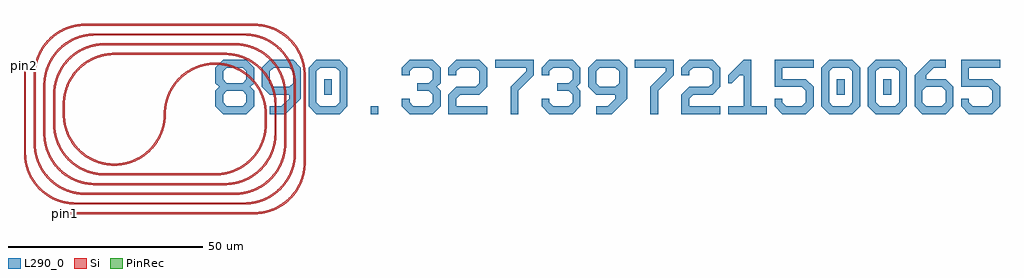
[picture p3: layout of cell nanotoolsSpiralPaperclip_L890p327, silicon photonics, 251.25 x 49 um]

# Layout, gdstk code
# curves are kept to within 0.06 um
import gdstk
lib = gdstk.Library(unit=1e-6, precision=1e-09)
def R(c, l, rs):  # rectangles x0, y0, x1, y1
    for r in rs: c.add(gdstk.rectangle(r[:2], r[2:], *l))
def P(c, l, *ps):  # polygons
    for p in ps: c.add(gdstk.Polygon(p, *l))
Si = (1, 0)
PinRec = (1, 10)
L290_0 = (290, 0)

nanotoolsspiralpaperclip = lib.new_cell('nanotoolsSpiralPaperclip_L890p327')
R(nanotoolsspiralpaperclip, Si, [(-38.5,-25.75,10,-25.25), (-36,-23.25,7.5,-22.75), (-33.5,-20.75,5,-20.25), (-31,-18.25,2.5,-17.75), (-28.5,-15.75,0,-15.25), (22.75,-12.5,23.25,10), (-49.25,-10,-48.75,12.5), (20.25,-10,20.75,7.5), (-46.75,-7.5,-46.25,10), (17.75,-7.5,18.25,5), (-44.25,-5,-43.75,7.5), (15.25,-5,15.75,2.5), (-41.75,-2.5,-41.25,5), (12.75,-2.5,13.25,0), (-39.25,0,-38.75,2.5), (-26,15.25,2.5,15.75), (-28.5,17.75,5,18.25), (-31,20.25,7.5,20.75), (-33.5,22.75,10,23.25)])
P(nanotoolsspiralpaperclip, Si, [(-13.25,0),(-13.187,1.289),(-12.999,2.565),(-12.688,3.817),(-12.257,5.033),(-11.709,6.201),(-11.05,7.311),(-10.287,8.351),(-9.426,9.312),(-8.476,10.185),(-7.445,10.961),(-6.344,11.633),(-5.182,12.195),(-3.972,12.641),(-2.723,12.967),(-1.449,13.171),(0,13.25),(0,12.75),(-1.24,12.69),(-2.62,12.478),(-3.969,12.116),(-5.271,11.61),(-6.24,11.119),(-7.292,10.459),(-8.961,9.07),(-10.369,7.419),(-11.478,5.552),(-12.067,4.117),(-12.445,2.772),(-12.674,1.394),(-12.75,0)],
  [(-26,-13.25),(-26,-12.75),(-24.76,-12.69),(-23.38,-12.478),(-22.031,-12.116),(-20.729,-11.61),(-19.76,-11.119),(-18.708,-10.459),(-17.039,-9.07),(-15.631,-7.419),(-14.522,-5.552),(-13.933,-4.117),(-13.555,-2.772),(-13.326,-1.394),(-13.25,0),(-12.75,0),(-12.813,-1.289),(-13.001,-2.565),(-13.312,-3.817),(-13.743,-5.033),(-14.291,-6.201),(-14.95,-7.311),(-15.713,-8.351),(-16.574,-9.312),(-17.524,-10.185),(-18.555,-10.961),(-19.656,-11.633),(-20.818,-12.195),(-22.028,-12.641),(-23.277,-12.967),(-24.551,-13.171)],
  [(0,-15.75),(0,-15.25),(1.24,-15.19),(2.62,-14.978),(3.969,-14.616),(5.271,-14.11),(6.24,-13.619),(7.292,-12.959),(8.961,-11.57),(10.369,-9.919),(11.478,-8.052),(12.067,-6.617),(12.445,-5.272),(12.674,-3.894),(12.75,-2.5),(13.25,-2.5),(13.187,-3.789),(12.999,-5.065),(12.688,-6.317),(12.257,-7.533),(11.709,-8.701),(11.05,-9.811),(10.287,-10.851),(9.426,-11.812),(8.476,-12.685),(7.445,-13.461),(6.344,-14.133),(5.182,-14.695),(3.972,-15.141),(2.723,-15.467),(1.449,-15.671)],
  [(2.5,-18.25),(2.5,-17.75),(3.74,-17.69),(5.12,-17.478),(6.469,-17.116),(7.771,-16.61),(8.74,-16.119),(9.792,-15.459),(11.461,-14.07),(12.869,-12.419),(13.978,-10.552),(14.567,-9.117),(14.945,-7.772),(15.174,-6.394),(15.25,-5),(15.75,-5),(15.687,-6.289),(15.499,-7.565),(15.188,-8.817),(14.757,-10.033),(14.209,-11.201),(13.55,-12.311),(12.787,-13.351),(11.926,-14.312),(10.976,-15.185),(9.945,-15.961),(8.844,-16.633),(7.682,-17.195),(6.472,-17.641),(5.223,-17.967),(3.949,-18.171)],
  [(5,-20.75),(5,-20.25),(6.24,-20.19),(7.62,-19.978),(8.969,-19.616),(10.271,-19.11),(11.24,-18.619),(12.292,-17.959),(13.961,-16.57),(15.369,-14.919),(16.478,-13.052),(17.067,-11.617),(17.445,-10.272),(17.674,-8.894),(17.75,-7.5),(18.25,-7.5),(18.187,-8.789),(17.999,-10.065),(17.688,-11.317),(17.257,-12.533),(16.709,-13.701),(16.05,-14.811),(15.287,-15.851),(14.426,-16.812),(13.476,-17.685),(12.445,-18.461),(11.344,-19.133),(10.182,-19.695),(8.972,-20.141),(7.723,-20.467),(6.449,-20.671)],
  [(7.5,-23.25),(7.5,-22.75),(8.74,-22.69),(10.12,-22.478),(11.469,-22.116),(12.771,-21.61),(13.74,-21.119),(14.792,-20.459),(16.461,-19.07),(17.869,-17.419),(18.978,-15.552),(19.567,-14.117),(19.945,-12.772),(20.174,-11.394),(20.25,-10),(20.75,-10),(20.687,-11.289),(20.499,-12.565),(20.188,-13.817),(19.757,-15.033),(19.209,-16.201),(18.55,-17.311),(17.787,-18.351),(16.926,-19.312),(15.976,-20.185),(14.945,-20.961),(13.844,-21.633),(12.682,-22.195),(11.472,-22.641),(10.223,-22.967),(8.949,-23.171)],
  [(10,-25.75),(10,-25.25),(11.24,-25.19),(12.62,-24.978),(13.969,-24.616),(15.271,-24.11),(16.24,-23.619),(17.292,-22.959),(18.961,-21.57),(20.369,-19.919),(21.478,-18.052),(22.067,-16.617),(22.445,-15.272),(22.674,-13.894),(22.75,-12.5),(23.25,-12.5),(23.187,-13.789),(22.999,-15.065),(22.688,-16.317),(22.257,-17.533),(21.709,-18.701),(21.05,-19.811),(20.287,-20.851),(19.426,-21.812),(18.476,-22.685),(17.445,-23.461),(16.344,-24.133),(15.182,-24.695),(13.972,-25.141),(12.723,-25.467),(11.449,-25.671)],
  [(12.75,0),(12.69,1.24),(12.509,2.468),(12.209,3.673),(11.794,4.843),(11.339,5.83),(10.718,6.905),(9.996,7.915),(9.179,8.849),(8.392,9.599),(7.419,10.369),(5.552,11.478),(4.117,12.067),(2.772,12.445),(1.394,12.674),(0,12.75),(0,13.25),(1.449,13.171),(2.723,12.967),(3.972,12.641),(5.182,12.195),(6.344,11.633),(7.445,10.961),(8.476,10.185),(9.539,9.196),(10.388,8.225),(11.225,7.04),(11.928,5.77),(12.487,4.431),(12.967,2.723),(13.225,0.806),(13.25,0)],
  [(15.25,2.5),(15.19,3.74),(15.009,4.968),(14.709,6.173),(14.294,7.343),(13.839,8.33),(13.218,9.405),(12.496,10.415),(11.679,11.349),(10.892,12.099),(9.919,12.869),(8.052,13.978),(6.617,14.567),(5.272,14.945),(3.894,15.174),(2.5,15.25),(2.5,15.75),(3.949,15.671),(5.223,15.467),(6.472,15.141),(7.682,14.695),(8.844,14.133),(9.945,13.461),(10.976,12.685),(12.039,11.696),(12.888,10.725),(13.725,9.54),(14.428,8.27),(14.987,6.931),(15.467,5.223),(15.725,3.306),(15.75,2.5)],
  [(17.75,5),(17.69,6.24),(17.509,7.468),(17.209,8.673),(16.794,9.843),(16.339,10.83),(15.718,11.905),(14.996,12.915),(14.179,13.849),(13.392,14.599),(12.419,15.369),(10.552,16.478),(9.117,17.067),(7.772,17.445),(6.394,17.674),(5,17.75),(5,18.25),(6.449,18.171),(7.723,17.967),(8.972,17.641),(10.182,17.195),(11.344,16.633),(12.445,15.961),(13.476,15.185),(14.539,14.196),(15.388,13.225),(16.225,12.04),(16.928,10.77),(17.487,9.431),(17.967,7.723),(18.225,5.806),(18.25,5)],
  [(20.25,7.5),(20.19,8.74),(20.009,9.968),(19.709,11.173),(19.294,12.343),(18.839,13.33),(18.218,14.405),(17.496,15.415),(16.679,16.349),(15.892,17.099),(14.919,17.869),(13.052,18.978),(11.617,19.567),(10.272,19.945),(8.894,20.174),(7.5,20.25),(7.5,20.75),(8.949,20.671),(10.223,20.467),(11.472,20.141),(12.682,19.695),(13.844,19.133),(14.945,18.461),(15.976,17.685),(17.039,16.696),(17.888,15.725),(18.725,14.54),(19.428,13.27),(19.987,11.931),(20.467,10.223),(20.725,8.306),(20.75,7.5)],
  [(22.75,10),(22.69,11.24),(22.509,12.468),(22.209,13.673),(21.794,14.843),(21.339,15.83),(20.718,16.905),(19.996,17.915),(19.179,18.849),(18.392,19.599),(17.419,20.369),(15.552,21.478),(14.117,22.067),(12.772,22.445),(11.394,22.674),(10,22.75),(10,23.25),(11.449,23.171),(12.723,22.967),(13.972,22.641),(15.182,22.195),(16.344,21.633),(17.445,20.961),(18.476,20.185),(19.539,19.196),(20.388,18.225),(21.225,17.04),(21.928,15.77),(22.487,14.431),(22.967,12.723),(23.225,10.806),(23.25,10)],
  [(-39.25,2.5),(-39.187,3.789),(-38.999,5.065),(-38.688,6.317),(-38.257,7.533),(-37.709,8.701),(-37.05,9.811),(-36.287,10.851),(-35.426,11.812),(-34.476,12.685),(-33.445,13.461),(-32.344,14.133),(-31.182,14.695),(-29.972,15.141),(-28.723,15.467),(-27.449,15.671),(-26,15.75),(-26,15.25),(-27.24,15.19),(-28.62,14.978),(-29.969,14.616),(-31.271,14.11),(-32.24,13.619),(-33.292,12.959),(-34.961,11.57),(-36.369,9.919),(-37.478,8.052),(-38.067,6.617),(-38.445,5.272),(-38.674,3.894),(-38.75,2.5)],
  [(-41.75,5),(-41.687,6.289),(-41.499,7.565),(-41.188,8.817),(-40.757,10.033),(-40.209,11.201),(-39.55,12.311),(-38.787,13.351),(-37.926,14.312),(-36.976,15.185),(-35.945,15.961),(-34.844,16.633),(-33.682,17.195),(-32.472,17.641),(-31.223,17.967),(-29.949,18.171),(-28.5,18.25),(-28.5,17.75),(-29.74,17.69),(-31.12,17.478),(-32.469,17.116),(-33.771,16.61),(-34.74,16.119),(-35.792,15.459),(-37.461,14.07),(-38.869,12.419),(-39.978,10.552),(-40.567,9.117),(-40.945,7.772),(-41.174,6.394),(-41.25,5)],
  [(-44.25,7.5),(-44.187,8.789),(-43.999,10.065),(-43.688,11.317),(-43.257,12.533),(-42.709,13.701),(-42.05,14.811),(-41.287,15.851),(-40.426,16.812),(-39.476,17.685),(-38.445,18.461),(-37.344,19.133),(-36.182,19.695),(-34.972,20.141),(-33.723,20.467),(-32.449,20.671),(-31,20.75),(-31,20.25),(-32.24,20.19),(-33.62,19.978),(-34.969,19.616),(-36.271,19.11),(-37.24,18.619),(-38.292,17.959),(-39.961,16.57),(-41.369,14.919),(-42.478,13.052),(-43.067,11.617),(-43.445,10.272),(-43.674,8.894),(-43.75,7.5)],
  [(-46.75,10),(-46.687,11.289),(-46.499,12.565),(-46.188,13.817),(-45.757,15.033),(-45.209,16.201),(-44.55,17.311),(-43.787,18.351),(-42.926,19.312),(-41.976,20.185),(-40.945,20.961),(-39.844,21.633),(-38.682,22.195),(-37.472,22.641),(-36.223,22.967),(-34.949,23.171),(-33.5,23.25),(-33.5,22.75),(-34.74,22.69),(-36.12,22.478),(-37.469,22.116),(-38.771,21.61),(-39.74,21.119),(-40.792,20.459),(-42.461,19.07),(-43.869,17.419),(-44.978,15.552),(-45.567,14.117),(-45.945,12.772),(-46.174,11.394),(-46.25,10)],
  [(-26,-13.25),(-27.289,-13.187),(-28.565,-12.999),(-29.817,-12.688),(-31.033,-12.257),(-32.201,-11.709),(-33.311,-11.05),(-34.351,-10.287),(-35.312,-9.426),(-36.185,-8.476),(-36.961,-7.445),(-37.633,-6.344),(-38.195,-5.182),(-38.641,-3.972),(-38.967,-2.723),(-39.171,-1.449),(-39.25,0),(-38.75,0),(-38.69,-1.24),(-38.478,-2.62),(-38.116,-3.969),(-37.61,-5.271),(-37.119,-6.24),(-36.459,-7.292),(-35.07,-8.961),(-33.419,-10.369),(-31.552,-11.478),(-30.117,-12.067),(-28.772,-12.445),(-27.394,-12.674),(-26,-12.75)],
  [(-28.5,-15.75),(-29.789,-15.687),(-31.065,-15.499),(-32.317,-15.188),(-33.533,-14.757),(-34.701,-14.209),(-35.811,-13.55),(-36.851,-12.787),(-37.812,-11.926),(-38.685,-10.976),(-39.461,-9.945),(-40.133,-8.844),(-40.695,-7.682),(-41.141,-6.472),(-41.467,-5.223),(-41.671,-3.949),(-41.75,-2.5),(-41.25,-2.5),(-41.19,-3.74),(-40.978,-5.12),(-40.616,-6.469),(-40.11,-7.771),(-39.619,-8.74),(-38.959,-9.792),(-37.57,-11.461),(-35.919,-12.869),(-34.052,-13.978),(-32.617,-14.567),(-31.272,-14.945),(-29.894,-15.174),(-28.5,-15.25)],
  [(-31,-18.25),(-32.289,-18.187),(-33.565,-17.999),(-34.817,-17.688),(-36.033,-17.257),(-37.201,-16.709),(-38.311,-16.05),(-39.351,-15.287),(-40.312,-14.426),(-41.185,-13.476),(-41.961,-12.445),(-42.633,-11.344),(-43.195,-10.182),(-43.641,-8.972),(-43.967,-7.723),(-44.171,-6.449),(-44.25,-5),(-43.75,-5),(-43.69,-6.24),(-43.478,-7.62),(-43.116,-8.969),(-42.61,-10.271),(-42.119,-11.24),(-41.459,-12.292),(-40.07,-13.961),(-38.419,-15.369),(-36.552,-16.478),(-35.117,-17.067),(-33.772,-17.445),(-32.394,-17.674),(-31,-17.75)],
  [(-33.5,-20.75),(-34.789,-20.687),(-36.065,-20.499),(-37.317,-20.188),(-38.533,-19.757),(-39.701,-19.209),(-40.811,-18.55),(-41.851,-17.787),(-42.812,-16.926),(-43.685,-15.976),(-44.461,-14.945),(-45.133,-13.844),(-45.695,-12.682),(-46.141,-11.472),(-46.467,-10.223),(-46.671,-8.949),(-46.75,-7.5),(-46.25,-7.5),(-46.19,-8.74),(-45.978,-10.12),(-45.616,-11.469),(-45.11,-12.771),(-44.619,-13.74),(-43.959,-14.792),(-42.57,-16.461),(-40.919,-17.869),(-39.052,-18.978),(-37.617,-19.567),(-36.272,-19.945),(-34.894,-20.174),(-33.5,-20.25)],
  [(-36,-23.25),(-37.289,-23.187),(-38.565,-22.999),(-39.817,-22.688),(-41.033,-22.257),(-42.201,-21.709),(-43.311,-21.05),(-44.351,-20.287),(-45.312,-19.426),(-46.185,-18.476),(-46.961,-17.445),(-47.633,-16.344),(-48.195,-15.182),(-48.641,-13.972),(-48.967,-12.723),(-49.171,-11.449),(-49.25,-10),(-48.75,-10),(-48.69,-11.24),(-48.478,-12.62),(-48.116,-13.969),(-47.61,-15.271),(-47.119,-16.24),(-46.459,-17.292),(-45.07,-18.961),(-43.419,-20.369),(-41.552,-21.478),(-40.117,-22.067),(-38.772,-22.445),(-37.394,-22.674),(-36,-22.75)])
R(nanotoolsspiralpaperclip, L290_0, [(40,0,42,2), (28,5,30,9), (160,5,162,9), (172,5,174,9)])
P(nanotoolsspiralpaperclip, L290_0, [(2,0),(0,2),(0,6),(1,7),(0,8),(0,12),(2,14),(8,14),(10,12),(3,12),(2,11),(2,9),(3,8),(7,8),(8,9),(8,11),(7,12),(10,12),(10,8),(9,7),(10,6),(3,6),(2,5),(2,3),(3,2),(7,2),(8,3),(8,5),(7,6),(10,6),(10,2),(8,0)],
  [(14,0),(14,2),(17,2),(19,4),(19,5),(14,5),(12,7),(19,7),(20,8),(20,11),(19,12),(15,12),(14,11),(14,8),(15,7),(12,7),(12,12),(14,14),(20,14),(22,12),(22,4),(18,0)],
  [(26,0),(24,2),(24,12),(26,14),(32,14),(34,12),(27,12),(26,11),(26,3),(27,2),(31,2),(32,3),(32,11),(31,12),(34,12),(34,2),(32,0)],
  [(50,0),(48,2),(48,4),(50,4),(50,3),(51,2),(55,2),(56,3),(56,5),(55,6),(52,6),(52,8),(55,8),(56,9),(56,11),(55,12),(51,12),(50,11),(50,10),(48,10),(48,12),(50,14),(56,14),(58,12),(58,8),(57,7),(58,6),(58,2),(56,0)],
  [(60,0),(60,5),(62,7),(67,7),(68,8),(68,11),(67,12),(63,12),(62,11),(62,10),(60,10),(60,12),(62,14),(68,14),(70,12),(70,7),(68,5),(63,5),(62,4),(62,2),(70,2),(70,0)],
  [(76,0),(76,7),(80,11),(80,12),(72,12),(72,14),(82,14),(82,10),(78,6),(78,0)],
  [(86,0),(84,2),(84,4),(86,4),(86,3),(87,2),(91,2),(92,3),(92,5),(91,6),(88,6),(88,8),(91,8),(92,9),(92,11),(91,12),(87,12),(86,11),(86,10),(84,10),(84,12),(86,14),(92,14),(94,12),(94,8),(93,7),(94,6),(94,2),(92,0)],
  [(98,0),(98,2),(101,2),(103,4),(103,5),(98,5),(96,7),(103,7),(104,8),(104,11),(103,12),(99,12),(98,11),(98,8),(99,7),(96,7),(96,12),(98,14),(104,14),(106,12),(106,4),(102,0)],
  [(112,0),(112,7),(116,11),(116,12),(108,12),(108,14),(118,14),(118,10),(114,6),(114,0)],
  [(120,0),(120,5),(122,7),(127,7),(128,8),(128,11),(127,12),(123,12),(122,11),(122,10),(120,10),(120,12),(122,14),(128,14),(130,12),(130,7),(128,5),(123,5),(122,4),(122,2),(130,2),(130,0)],
  [(132,0),(132,2),(136,2),(136,10),(135,10),(133,8),(132,8),(132,10),(136,14),(138,14),(138,2),(142,2),(142,0)],
  [(146,0),(144,2),(144,4),(146,4),(146,3),(147,2),(151,2),(152,3),(152,6),(151,7),(144,7),(144,14),(154,14),(154,12),(146,12),(146,9),(152,9),(154,7),(154,2),(152,0)],
  [(158,0),(156,2),(156,12),(158,14),(164,14),(166,12),(159,12),(158,11),(158,3),(159,2),(163,2),(164,3),(164,11),(163,12),(166,12),(166,2),(164,0)],
  [(170,0),(168,2),(168,12),(170,14),(176,14),(178,12),(171,12),(170,11),(170,3),(171,2),(175,2),(176,3),(176,11),(175,12),(178,12),(178,2),(176,0)],
  [(182,0),(180,2),(180,10),(184,14),(188,14),(188,12),(185,12),(183,10),(183,9),(188,9),(190,7),(183,7),(182,6),(182,3),(183,2),(187,2),(188,3),(188,6),(187,7),(190,7),(190,2),(188,0)],
  [(194,0),(192,2),(192,4),(194,4),(194,3),(195,2),(199,2),(200,3),(200,6),(199,7),(192,7),(192,14),(202,14),(202,12),(194,12),(194,9),(200,9),(202,7),(202,2),(200,0)])
nanotoolsspiralpaperclip.add(gdstk.FlexPath([(-38.45,-25.5),(-38.55,-25.5)], 0.5, ends="flush", simple_path=True, layer=1, datatype=10))  # PinRec
nanotoolsspiralpaperclip.add(gdstk.FlexPath([(-49,12.45),(-49,12.55)], 0.5, ends="flush", simple_path=True, layer=1, datatype=10))  # PinRec
nanotoolsspiralpaperclip.add(gdstk.Label('pin1', (-38.5,-25.5), layer=1, texttype=10))
nanotoolsspiralpaperclip.add(gdstk.Label('pin2', (-49,12.5), layer=1, texttype=10))

lib.write_gds('nanotoolsSpiralPaperclip_L890p327.gds')
